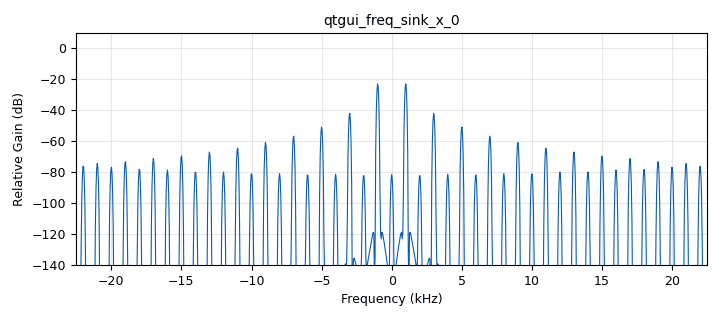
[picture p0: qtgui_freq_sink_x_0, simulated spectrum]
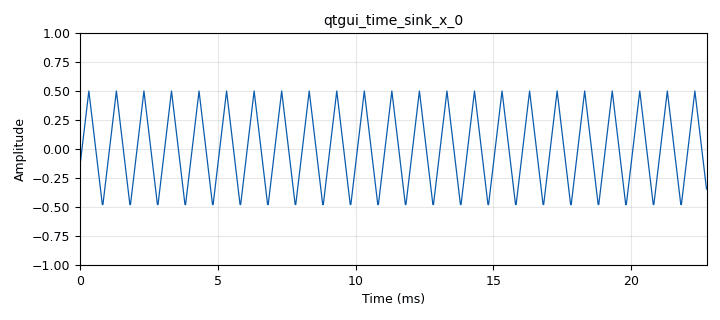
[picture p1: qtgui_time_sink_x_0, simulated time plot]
options:
  parameters:
    generate_options: qt_gui
    id: LAB_COMU1
    output_language: python
    title: Primer flujograma
  states: {}

blocks:
- name: frecuency
  id: variable
  parameters:
    value: '4500'
  states: {state: disabled}
- name: frequency
  id: variable_qtgui_range
  parameters:
    start: '0'
    step: '10'
    stop: '50000'
    value: '1000'
  states: {}
- name: samp_rate
  id: variable
  parameters:
    value: '45000'
  states: {}
- name: analog_sig_source_x_0
  id: analog_sig_source_x
  parameters:
    amp: '1'
    freq: frequency
    offset: '-1/2'
    phase: '0'
    samp_rate: samp_rate
    type: float
    waveform: analog.GR_TRI_WAVE
  states: {}
- name: blocks_throttle_0
  id: blocks_throttle
  parameters:
    samples_per_second: samp_rate
    type: float
  states: {}
- name: qtgui_freq_sink_x_0
  id: qtgui_freq_sink_x
  parameters:
    bw: samp_rate
    fc: '0'
    fftsize: '1024'
    type: float
  states: {}
- name: qtgui_time_sink_x_0
  id: qtgui_time_sink_x
  parameters:
    grid: 'True'
    size: '1024'
    srate: samp_rate
    type: float
  states: {}

connections:
- [analog_sig_source_x_0, '0', blocks_throttle_0, '0']
- [blocks_throttle_0, '0', qtgui_freq_sink_x_0, '0']
- [blocks_throttle_0, '0', qtgui_time_sink_x_0, '0']

metadata:
  file_format: 1
  grc_version: 3.9.8.0
